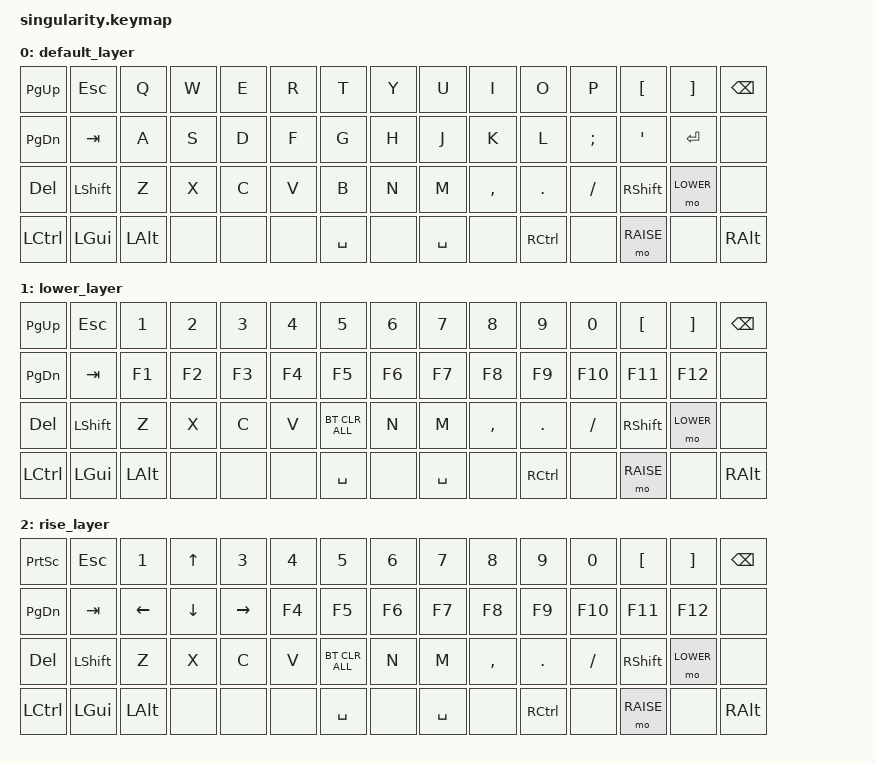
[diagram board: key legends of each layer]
// includes modules to enable syntax use.
#include <behaviors.dtsi>
#include <dt-bindings/zmk/keys.h>
#include <dt-bindings/zmk/bt.h>

// Makes layers and sets them to a num value.
#define DEFAULT 0
#define LOWER   1
#define RAISE   2

#define NONE 0

// Enables keymap config and defines the keymap.

/ {
    keymap {
        compatible = "zmk,keymap";

        default_layer {

// -----------------------------------------------------------------------------------------------------------------------------------------------------------------------------------------------------
//
// | PAGE UP |   ESC   |    Q    |    W    |    E    |    R    |    T    |                                          |    Y    |    U    |    I    |    O    |    P    |  LBRCT  |  RBRCT |  BSPACE |
// | PAGE DN |   TAB   |    A    |    S    |    D    |    F    |    G    |                                          |    H    |    J    |    K    |    L    |    ;    |    '    |  ENTER |
// | DELETE  |  SHIFT  |    Z    |    X    |    C    |    V    |    B    |                                          |    N    |    M    |    ,    |    .    |    /    |  R CTRL | R SHIFT | MO LOWER |
//       | L CTRL  |   GUI   |                       |  L ALT  |  SPACE  |                                          |  SPACE |                    |  R CTRL | MO RISE |  R ALT  |
//
// -----------------------------------------------------------------------------------------------------------------------------------------------------------------------------------------------------
            bindings = <
    &kp PAGE_UP   &kp ESC    &kp Q    &kp W    &kp E     &kp R     &kp T                  &kp Y    &kp U     &kp I     &kp O     &kp P     &kp LBKT   &kp RBKT  &kp BSPC
    &kp PAGE_DOWN   &kp TAB    &kp A    &kp S    &kp D     &kp F     &kp G                  &kp H    &kp J     &kp K     &kp L     &kp SEMI  &kp SQT    &kp RET   &none
    &kp DEL     &kp LSHIFT &kp Z    &kp X    &kp C     &kp V     &kp B                  &kp N &kp M  &kp COMMA &kp DOT   &kp FSLH  &kp RSHIFT &mo LOWER &none
    &kp LCTRL   &kp LGUI   &kp LALT &none    &none     &none     &kp SPACE              &none    &kp SPACE &none     &kp RCTRL &none     &mo RAISE  &none     &kp RALT
            >;
        };

        lower_layer {

// -----------------------------------------------------------------------------------------------------------------------------------------------------------------------------------------------------
//
// | PAGE UP |   ESC   |    Q    |    W    |    E    |    R    |    T    |                                          |    Y    |    U    |    I    |    O    |    P    |  LBRCT  |  RBRCT |  BSPACE |
// | PAGE DN |   TAB   |    A    |    S    |    D    |    F    |    G    |                                          |    H    |    J    |    K    |    L    |    ;    |    '    |  ENTER |
// | DELETE  |  SHIFT  |    Z    |    X    |    C    |    V    |    B    |                                          |    N    |    M    |    ,    |    .    |    /    |  R CTRL | R SHIFT | MO LOWER |
//       | L CTRL  |   GUI   |                       |  L ALT  |  SPACE  |                                          |  SPACE |                    |  R CTRL | MO RISE |  R ALT  |
//
// -----------------------------------------------------------------------------------------------------------------------------------------------------------------------------------------------------
            bindings = <
    &kp PAGE_UP   &kp ESC    &kp N1   &kp N2   &kp N3    &kp N4    &kp N5                 &kp N6   &kp N7    &kp N8    &kp N9    &kp N0    &kp LBKT   &kp RBKT  &kp BSPC
    &kp PAGE_DOWN   &kp TAB    &kp F1   &kp F2   &kp F3    &kp F4    &kp F5                 &kp F6   &kp F7    &kp F8    &kp F9    &kp F10   &kp F11    &kp F12   &none
    &kp DEL     &kp LSHIFT &kp Z    &kp X    &kp C     &kp V     &bt BT_CLR_ALL       &kp N    &kp M     &kp COMMA &kp DOT   &kp FSLH  &kp RSHIFT &mo LOWER &none 
    &kp LCTRL &kp LGUI   &kp LALT &none    &none     &none     &kp SPACE              &none    &kp SPACE &none     &kp RCTRL &none     &mo RAISE  &none     &kp RALT
            >;
        };

        rise_layer {

// -----------------------------------------------------------------------------------------------------------------------------------------------------------------------------------------------------
//
// | PAGE UP |   ESC   |    Q    |    W    |    E    |    R    |    T    |                                          |    Y    |    U    |    I    |    O    |    P    |  LBRCT  |  RBRCT |  BSPACE |
// | PAGE DN |   TAB   |    A    |    S    |    D    |    F    |    G    |                                          |    H    |    J    |    K    |    L    |    ;    |    '    |  ENTER |
// | DELETE  |  SHIFT  |    Z    |    X    |    C    |    V    |    B    |                                          |    N    |    M    |    ,    |    .    |    /    |  R CTRL | R SHIFT | MO LOWER |
//       | L CTRL  |   GUI   |                       |  L ALT  |  SPACE  |                                          |  SPACE |                    |  R CTRL | MO RISE |  R ALT  |
//
// -----------------------------------------------------------------------------------------------------------------------------------------------------------------------------------------------------
            bindings = <
    &kp PSCRN    &kp ESC    &kp N1         &kp UP_ARROW   &kp N3          &kp N4    &kp N5                 &kp N6   &kp N7    &kp N8    &kp N9    &kp N0    &kp LBKT   &kp RBKT  &kp BSPC
    &kp PAGE_DOWN  &kp TAB    &kp LEFT_ARROW &kp DOWN_ARROW &kp RIGHT_ARROW &kp F4    &kp F5                 &kp F6   &kp F7    &kp F8    &kp F9    &kp F10   &kp F11    &kp F12   &none
    &kp DEL      &kp LSHIFT &kp Z          &kp X          &kp C           &kp V     &bt BT_CLR_ALL         &kp N    &kp M     &kp COMMA &kp DOT   &kp FSLH  &kp RSHIFT &mo LOWER &none
    &kp LCTRL    &kp LGUI   &kp LALT       &none          &none           &none     &kp SPACE              &none    &kp SPACE &none     &kp RCTRL &none     &mo RAISE  &none     &kp RALT
            >;
        };
    };
};
